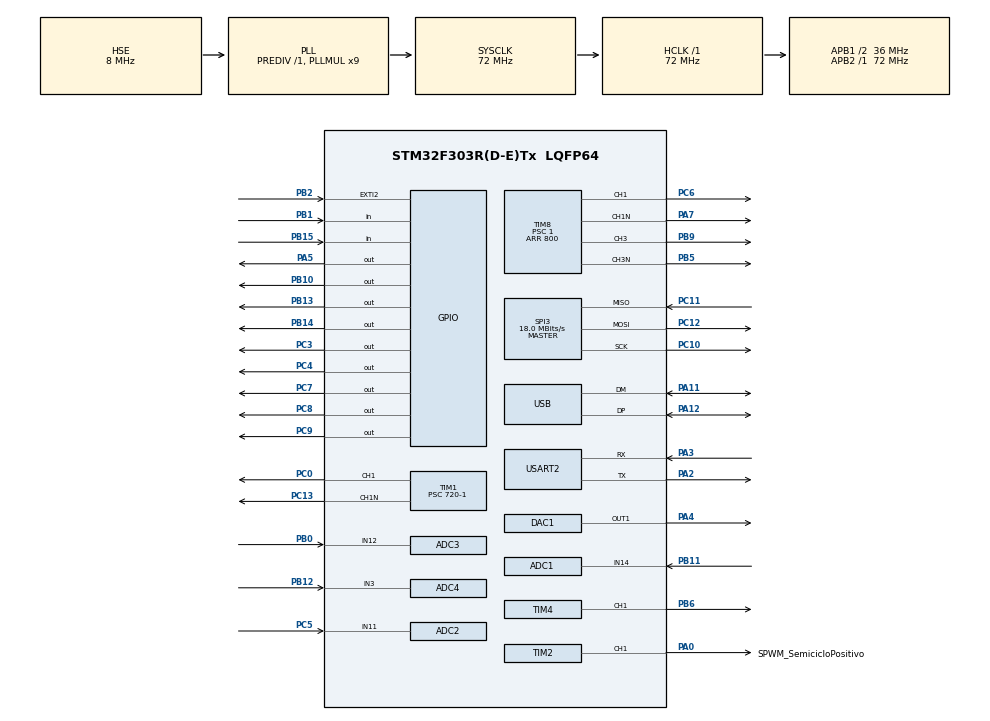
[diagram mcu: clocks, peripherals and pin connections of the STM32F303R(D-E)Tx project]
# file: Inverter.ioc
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ADC1.Channel-1\#ChannelRegularConversion=ADC_CHANNEL_14
ADC1.ClockPrescaler=ADC_CLOCK_SYNC_PCLK_DIV1
ADC1.ContinuousConvMode=ENABLE
ADC1.DMAContinuousRequests=ENABLE
ADC1.EOCSelection=ADC_EOC_SEQ_CONV
ADC1.EnableInjectedConversion=DISABLE
ADC1.NbrOfConversionFlag=1
ADC1.Offset-1\#ChannelRegularConversion=0
ADC1.OffsetNumber-1\#ChannelRegularConversion=ADC_OFFSET_NONE
ADC1.Overrun=ADC_OVR_DATA_OVERWRITTEN
ADC1.Rank-1\#ChannelRegularConversion=1
ADC1.SamplingTime-1\#ChannelRegularConversion=ADC_SAMPLETIME_1CYCLE_5
ADC1.master=1
ADC2.Channel-3\#ChannelRegularConversion=ADC_CHANNEL_11
ADC2.ClockPrescaler=ADC_CLOCK_SYNC_PCLK_DIV1
ADC2.ContinuousConvMode=ENABLE
ADC2.DMAContinuousRequests=ENABLE
ADC2.EnableInjectedConversion=DISABLE
ADC2.NbrOfConversionFlag=1
ADC2.Offset-3\#ChannelRegularConversion=0
ADC2.OffsetNumber-3\#ChannelRegularConversion=ADC_OFFSET_NONE
ADC2.Rank-3\#ChannelRegularConversion=1
ADC2.SamplingTime-3\#ChannelRegularConversion=ADC_SAMPLETIME_1CYCLE_5
ADC3.Channel-0\#ChannelRegularConversion=ADC_CHANNEL_12
ADC3.ClockPrescaler=ADC_CLOCK_SYNC_PCLK_DIV1
ADC3.ContinuousConvMode=ENABLE
ADC3.DMAContinuousRequests=ENABLE
ADC3.Mode=ADC_MODE_INDEPENDENT
ADC3.NbrOfConversionFlag=1
ADC3.Offset-0\#ChannelRegularConversion=0
ADC3.OffsetNumber-0\#ChannelRegularConversion=ADC_OFFSET_NONE
ADC3.Rank-0\#ChannelRegularConversion=1
ADC3.SamplingTime-0\#ChannelRegularConversion=ADC_SAMPLETIME_1CYCLE_5
ADC3.master=1
ADC4.Channel-1\#ChannelRegularConversion=ADC_CHANNEL_3
ADC4.ClockPrescaler=ADC_CLOCK_SYNC_PCLK_DIV1
ADC4.ContinuousConvMode=ENABLE
ADC4.DMAContinuousRequests=ENABLE
ADC4.NbrOfConversionFlag=1
ADC4.Offset-1\#ChannelRegularConversion=0
ADC4.OffsetNumber-1\#ChannelRegularConversion=ADC_OFFSET_NONE
ADC4.Rank-1\#ChannelRegularConversion=1
ADC4.SamplingTime-1\#ChannelRegularConversion=ADC_SAMPLETIME_1CYCLE_5
DAC1.DAC_Trigger=DAC_TRIGGER_T2_TRGO
Dma.ADC1.0.Direction=DMA_PERIPH_TO_MEMORY
Dma.ADC1.0.Instance=DMA1_Channel1
Dma.ADC1.0.MemDataAlignment=DMA_MDATAALIGN_WORD
Dma.ADC1.0.MemInc=DMA_MINC_ENABLE
Dma.ADC1.0.Mode=DMA_NORMAL
Dma.ADC1.0.PeriphDataAlignment=DMA_PDATAALIGN_WORD
Dma.ADC1.0.PeriphInc=DMA_PINC_DISABLE
Dma.ADC1.0.Priority=DMA_PRIORITY_VERY_HIGH
Dma.ADC2.3.Direction=DMA_PERIPH_TO_MEMORY
Dma.ADC2.3.Instance=DMA2_Channel1
Dma.ADC2.3.MemDataAlignment=DMA_MDATAALIGN_WORD
Dma.ADC2.3.MemInc=DMA_MINC_ENABLE
Dma.ADC2.3.Mode=DMA_NORMAL
Dma.ADC2.3.PeriphDataAlignment=DMA_PDATAALIGN_WORD
Dma.ADC2.3.PeriphInc=DMA_PINC_DISABLE
Dma.ADC2.3.Priority=DMA_PRIORITY_VERY_HIGH
Dma.ADC3.1.Direction=DMA_PERIPH_TO_MEMORY
Dma.ADC3.1.Instance=DMA2_Channel5
Dma.ADC3.1.MemDataAlignment=DMA_MDATAALIGN_WORD
Dma.ADC3.1.MemInc=DMA_MINC_ENABLE
Dma.ADC3.1.Mode=DMA_NORMAL
Dma.ADC3.1.PeriphDataAlignment=DMA_PDATAALIGN_WORD
Dma.ADC3.1.PeriphInc=DMA_PINC_DISABLE
Dma.ADC3.1.Priority=DMA_PRIORITY_VERY_HIGH
Dma.ADC4.2.Direction=DMA_PERIPH_TO_MEMORY
Dma.ADC4.2.Instance=DMA2_Channel2
Dma.ADC4.2.MemDataAlignment=DMA_MDATAALIGN_WORD
Dma.ADC4.2.MemInc=DMA_MINC_ENABLE
Dma.ADC4.2.Mode=DMA_NORMAL
Dma.ADC4.2.PeriphDataAlignment=DMA_PDATAALIGN_WORD
Dma.ADC4.2.PeriphInc=DMA_PINC_DISABLE
Dma.ADC4.2.Priority=DMA_PRIORITY_VERY_HIGH
Dma.DAC1_CH1.4.Direction=DMA_MEMORY_TO_PERIPH
Dma.DAC1_CH1.4.Instance=DMA1_Channel3
Dma.DAC1_CH1.4.MemDataAlignment=DMA_MDATAALIGN_WORD
Dma.DAC1_CH1.4.MemInc=DMA_MINC_ENABLE
Dma.DAC1_CH1.4.Mode=DMA_CIRCULAR
Dma.DAC1_CH1.4.PeriphDataAlignment=DMA_PDATAALIGN_WORD
Dma.DAC1_CH1.4.PeriphInc=DMA_PINC_DISABLE
Dma.DAC1_CH1.4.Priority=DMA_PRIORITY_LOW
Dma.MEMTOMEM.6.Direction=DMA_MEMORY_TO_MEMORY
Dma.MEMTOMEM.6.Instance=DMA1_Channel4
Dma.MEMTOMEM.6.MemDataAlignment=DMA_MDATAALIGN_HALFWORD
Dma.MEMTOMEM.6.MemInc=DMA_MINC_ENABLE
Dma.MEMTOMEM.6.Mode=DMA_NORMAL
Dma.MEMTOMEM.6.PeriphDataAlignment=DMA_PDATAALIGN_HALFWORD
Dma.MEMTOMEM.6.PeriphInc=DMA_PINC_ENABLE
Dma.MEMTOMEM.6.Priority=DMA_PRIORITY_HIGH
Dma.Request0=ADC1
Dma.Request1=ADC3
Dma.Request2=ADC4
Dma.Request3=ADC2
Dma.Request4=DAC1_CH1
Dma.Request5=TIM2_CH1
Dma.Request6=MEMTOMEM
Dma.TIM2_CH1.5.Direction=DMA_MEMORY_TO_PERIPH
Dma.TIM2_CH1.5.Instance=DMA1_Channel5
Dma.TIM2_CH1.5.MemDataAlignment=DMA_MDATAALIGN_WORD
Dma.TIM2_CH1.5.MemInc=DMA_MINC_ENABLE
Dma.TIM2_CH1.5.Mode=DMA_CIRCULAR
Dma.TIM2_CH1.5.PeriphDataAlignment=DMA_PDATAALIGN_WORD
Dma.TIM2_CH1.5.PeriphInc=DMA_PINC_DISABLE
Dma.TIM2_CH1.5.Priority=DMA_PRIORITY_VERY_HIGH
FATFS._FS_LOCK=30
FATFS._FS_NORTC=0
FATFS._MAX_SS=512
FATFS._MIN_SS=512
FATFS._USE_FORWARD=1
FATFS._USE_LFN=1
Mcu.Family=STM32F3
Mcu.Name=STM32F303R(D-E)Tx
Mcu.Package=LQFP64
NVIC.DMA1_Channel1_IRQn=true\:0\:0\:false\:false\:true\:false\:true\:true
NVIC.DMA1_Channel3_IRQn=true\:0\:0\:false\:false\:true\:false\:true\:true
NVIC.DMA1_Channel5_IRQn=true\:0\:0\:false\:false\:true\:false\:true\:true
NVIC.DMA2_Channel1_IRQn=true\:0\:0\:false\:false\:true\:false\:true\:true
NVIC.DMA2_Channel2_IRQn=true\:0\:0\:false\:false\:true\:false\:true\:true
NVIC.DMA2_Channel5_IRQn=true\:0\:0\:false\:false\:true\:false\:true\:true
NVIC.PriorityGroup=NVIC_PRIORITYGROUP_0
NVIC.TIM1_UP_TIM16_IRQn=true\:0\:0\:false\:false\:true\:true\:true\:true
NVIC.TIM3_IRQn=true\:0\:7\:false\:false\:true\:true\:true\:true
NVIC.TIM7_IRQn=true\:0\:0\:false\:false\:true\:true\:true\:true
NVIC.USB_LP_IRQn=true\:0\:0\:false\:false\:true\:false\:true\:true
PA0.GPIO_Label=SPWM_SemicicloPositivo
PA0.Signal=S_TIM2_CH1_ETR
PA11.Mode=Device
PA11.Signal=USB_DM
PA12.Mode=Device
PA12.Signal=USB_DP
PA13.Mode=Serial_Wire
PA13.Signal=SYS_JTMS-SWDIO
PA14.Mode=Serial_Wire
PA14.Signal=SYS_JTCK-SWCLK
PA2.GPIO_Mode=GPIO_MODE_AF_PP
PA2.GPIO_ModeDefaultPP=GPIO_MODE_AF_PP
PA2.GPIO_PuPd=GPIO_NOPULL
PA2.GPIO_Speed=GPIO_SPEED_FREQ_HIGH
PA2.Mode=Asynchronous
PA2.Signal=USART2_TX
PA3.GPIO_Mode=GPIO_MODE_AF_PP
PA3.GPIO_ModeDefaultPP=GPIO_MODE_AF_PP
PA3.GPIO_PuPd=GPIO_NOPULL
PA3.GPIO_Speed=GPIO_SPEED_FREQ_HIGH
PA3.Mode=Asynchronous
PA3.Signal=USART2_RX
PA4.Signal=COMP_DAC11_group
PA5.GPIO_Mode=GPIO_MODE_OUTPUT_PP
PA5.GPIO_ModeDefaultOutputPP=GPIO_MODE_OUTPUT_PP
PA5.GPIO_PuPd=GPIO_NOPULL
PA5.GPIO_Speed=GPIO_SPEED_FREQ_LOW
PA5.PinState=GPIO_PIN_RESET
PA5.Signal=GPIO_Output
PA7.Mode=PWM Generation1 CH1 CH1N
PA7.Signal=TIM8_CH1N
PB0.Mode=IN12-Single-Ended
PB0.Signal=ADC3_IN12
PB1.Signal=GPIO_Input
PB10.Signal=GPIO_Output
PB11.Mode=IN14-Single-Ended
PB11.Signal=ADC1_IN14
PB12.Mode=IN3-Single-Ended
PB12.Signal=ADC4_IN3
PB13.Signal=GPIO_Output
PB14.Signal=GPIO_Output
PB15.Signal=GPIO_Input
PB2.Signal=GPXTI2
PB3.Signal=SYS_JTDO-TRACESWO
PB5.Mode=PWM Generation3 CH3 CH3N
PB5.Signal=TIM8_CH3N
PB6.Signal=S_TIM4_CH1
PB9.Signal=S_TIM8_CH3
PC0.Signal=S_TIM1_CH1
PC10.GPIO_Speed=GPIO_SPEED_FREQ_HIGH
PC10.Mode=Full_Duplex_Master
PC10.Signal=SPI3_SCK
PC11.Mode=Full_Duplex_Master
PC11.Signal=SPI3_MISO
PC12.Mode=Full_Duplex_Master
PC12.Signal=SPI3_MOSI
PC13.Mode=PWM Generation1 CH1 CH1N
PC13.Signal=TIM1_CH1N
PC14-OSC32_IN.Mode=LSE-External-Clock-Source
PC14-OSC32_IN.Signal=RCC_OSC32_IN
PC15-OSC32_OUT.Signal=RCC_OSC32_OUT
PC3.Signal=GPIO_Output
PC4.Signal=GPIO_Output
PC5.Mode=IN11-Single-Ended
PC5.Signal=ADC2_IN11
PC6.Signal=S_TIM8_CH1
PC7.Signal=GPIO_Output
PC8.Signal=GPIO_Output
PC9.Signal=GPIO_Output
PF0-OSC_IN.Mode=HSE-External-Clock-Source
PF0-OSC_IN.Signal=RCC_OSC_IN
PF1-OSC_OUT.Signal=RCC_OSC_OUT
ProjectManager.HeapSize=0x200
ProjectManager.StackSize=0x400
ProjectManager.TargetToolchain=STM32CubeIDE
RCC.AHBFreq_Value=72000000
RCC.APB1CLKDivider=RCC_HCLK_DIV2
RCC.APB1Freq_Value=36000000
RCC.APB1TimFreq_Value=72000000
RCC.APB2Freq_Value=72000000
RCC.APB2TimFreq_Value=72000000
RCC.CortexFreq_Value=72000000
RCC.HCLKFreq_Value=72000000
RCC.HSE_VALUE=8000000
RCC.HSI_VALUE=8000000
RCC.LSE_VALUE=32768
RCC.PLLM=8
RCC.PLLMUL=RCC_PLL_MUL9
RCC.PLLN=336
RCC.PLLP=RCC_PLLP_DIV4
RCC.PLLQ=7
RCC.PRESCALERUSB=RCC_USBCLKSOURCE_PLL_DIV1_5
RCC.RCC_PLLsource_Clock_Source_FROM_HSE=RCC_HSE_PREDIV_DIV2
RCC.SYSCLKFreq_VALUE=72000000
RCC.SYSCLKSourceVirtual=RCC_SYSCLKSOURCE_PLLCLK
RCC.USBFreq_Value=48000000
RCC.Usart2ClockSelection=RCC_USART2CLKSOURCE_SYSCLK
SH.COMP_DAC11_group.0=DAC1_OUT1,DAC_OUT1
SH.S_TIM1_CH1.0=TIM1_CH1,PWM Generation1 CH1 CH1N
SH.S_TIM2_CH1_ETR.0=TIM2_CH1,PWM Generation1 CH1
SH.S_TIM4_CH1.0=TIM4_CH1,PWM Generation1 CH1
SH.S_TIM8_CH1.0=TIM8_CH1,PWM Generation1 CH1 CH1N
SH.S_TIM8_CH3.0=TIM8_CH3,PWM Generation3 CH3 CH3N
SPI3.BaudRatePrescaler=SPI_BAUDRATEPRESCALER_2
SPI3.CLKPolarity=SPI_POLARITY_LOW
SPI3.CalculateBaudRate=18.0 MBits/s
SPI3.DataSize=SPI_DATASIZE_8BIT
SPI3.Direction=SPI_DIRECTION_2LINES
SPI3.Mode=SPI_MODE_MASTER
SPI3.VirtualType=VM_MASTER
TIM1.AutomaticOutput=TIM_AUTOMATICOUTPUT_DISABLE
TIM1.BreakFilter=0
TIM1.BreakState=TIM_BREAK_ENABLE
TIM1.Channel-PWM\ Generation1\ CH1\ CH1N=TIM_CHANNEL_1
TIM1.ClearInputSource=TIM_CLEARINPUTSOURCE_NONE
TIM1.DeadTime=255
TIM1.OC1Preload_PWM=DISABLE
TIM1.OCFastMode_PWM-PWM\ Generation1\ CH1\ CH1N=TIM_OCFAST_ENABLE
TIM1.OffStateIDLEMode=TIM_OSSI_DISABLE
TIM1.OffStateRunMode=TIM_OSSR_DISABLE
TIM1.Period=2000-1
TIM1.Prescaler=720-1
TIM1.Pulse-PWM\ Generation1\ CH1\ CH1N=1000-1
TIM1.TIM_MasterOutputTrigger=TIM_TRGO_RESET
TIM1.TIM_MasterSlaveMode=TIM_MASTERSLAVEMODE_DISABLE
TIM2.AutoReloadPreload=TIM_AUTORELOAD_PRELOAD_DISABLE
TIM2.Channel-PWM\ Generation1\ CH1=TIM_CHANNEL_1
TIM2.ClearInputSource=TIM_CLEARINPUTSOURCE_NONE
TIM2.OC1Preload_PWM=DISABLE
TIM2.Period=2880-1
TIM2.Prescaler=0
TIM2.Pulse-PWM\ Generation1\ CH1=0
TIM2.TIM_MasterOutputTrigger=TIM_TRGO_RESET
TIM2.TIM_MasterSlaveMode=TIM_MASTERSLAVEMODE_DISABLE
TIM3.AutoReloadPreload=TIM_AUTORELOAD_PRELOAD_ENABLE
TIM3.Period=10
TIM3.Prescaler=72
TIM3.TIM_MasterOutputTrigger=TIM_TRGO_UPDATE
TIM3.TIM_MasterSlaveMode=TIM_MASTERSLAVEMODE_DISABLE
TIM4.Channel-PWM\ Generation1\ CH1=TIM_CHANNEL_1
TIM4.OC1Preload_PWM=DISABLE
TIM4.Period=3000
TIM4.Pulse-PWM\ Generation1\ CH1=1500
TIM7.Period=300
TIM8.Channel-PWM\ Generation1\ CH1\ CH1N=TIM_CHANNEL_1
TIM8.Channel-PWM\ Generation2\ No\ Output=TIM_CHANNEL_2
TIM8.Channel-PWM\ Generation3\ CH3\ CH3N=TIM_CHANNEL_3
TIM8.Channel-PWM\ Generation4\ No\ Output=TIM_CHANNEL_4
TIM8.CounterMode=TIM_COUNTERMODE_CENTERALIGNED1
TIM8.DeadTime=100
TIM8.OC1Preload_PWM=DISABLE
TIM8.OC2Preload_PWM=DISABLE
TIM8.OC3Preload_PWM=DISABLE
TIM8.OC4Preload_PWM=DISABLE
TIM8.OCFastMode_PWM-PWM\ Generation1\ CH1\ CH1N=TIM_OCFAST_ENABLE
TIM8.OCFastMode_PWM-PWM\ Generation2\ No\ Output=TIM_OCFAST_ENABLE
TIM8.OCMode_PWM-PWM\ Generation1\ CH1\ CH1N=TIM_OCMODE_ASSYMETRIC_PWM1
TIM8.OCMode_PWM-PWM\ Generation2\ No\ Output=TIM_OCMODE_ASSYMETRIC_PWM1
TIM8.OCMode_PWM-PWM\ Generation3\ CH3\ CH3N=TIM_OCMODE_ASSYMETRIC_PWM1
TIM8.OCMode_PWM-PWM\ Generation4\ No\ Output=TIM_OCMODE_ASSYMETRIC_PWM1
TIM8.Period=800
TIM8.Prescaler=1
TIM8.Pulse-PWM\ Generation1\ CH1\ CH1N=500
TIM8.Pulse-PWM\ Generation3\ CH3\ CH3N=500
TIM8.TIM_MasterOutputTrigger=TIM_TRGO_OC1REF
TIM8.TIM_MasterOutputTrigger2=TIM_TRGO2_OC1REF
TIM8.TIM_MasterSlaveMode=TIM_MASTERSLAVEMODE_DISABLE
USART2.VirtualMode-Asynchronous=VM_ASYNC
USB_DEVICE.CLASS_NAME_FS=CDC
USB_DEVICE.USBD_SELF_POWERED=0
USB_DEVICE.VirtualMode=Cdc
USB_DEVICE.VirtualModeFS=Cdc_FS
VP_FATFS_VS_Generic.Mode=User_defined
VP_TIM1_VS_ClockSourceINT.Mode=Internal
VP_TIM2_VS_ClockSourceINT.Mode=Internal
VP_TIM3_VS_ClockSourceINT.Mode=Internal
VP_TIM4_VS_ClockSourceINT.Mode=Internal
VP_TIM7_VS_ClockSourceINT.Mode=Enable_Timer
VP_TIM8_VS_ClockSourceINT.Mode=Internal
VP_TIM8_VS_no_output2.Mode=PWM Generation2 No Output
VP_TIM8_VS_no_output4.Mode=PWM Generation4 No Output
VP_USB_DEVICE_VS_USB_DEVICE_CDC_FS.Mode=CDC_FS
board=NUCLEO-F303RE

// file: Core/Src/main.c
/* USER CODE BEGIN Header */
/**
  ******************************************************************************
  * @file           : main.c
  * @brief          : Main program body
  ******************************************************************************
  * @attention
  *
  * <h2><center>&copy; Copyright (c) 2020 STMicroelectronics.
  * All rights reserved.</center></h2>
  *
  * This software component is licensed by ST under BSD 3-Clause license,
  * the "License"; You may not use this file except in compliance with the
  * License. You may obtain a copy of the License at:
  *                        opensource.org/licenses/BSD-3-Clause
  *
  ******************************************************************************
  */
/* USER CODE END Header */
#include "main.h"
#include "fatfs.h"
#include "usb_device.h"

/* USER CODE BEGIN Includes */
#include "math.h"
#include "aplicacion.h"
#include "usbd_cdc_if.h"
#include "stm32f3xx_hal_dma.h"
#include "stm32f3xx_hal.h"
#include "Recursos.h"
#include "ILI9341_Driver.h"
#include "Panel Tactil.h"
#include "user_diskio.h"
#include "XPT2046_touch.h"
#include "stdio.h"

extern USBD_HandleTypeDef hUsbDeviceFS;
/* USER CODE END Includes */

ADC_HandleTypeDef hadc1;
ADC_HandleTypeDef hadc2;
ADC_HandleTypeDef hadc3;
ADC_HandleTypeDef hadc4;
DMA_HandleTypeDef hdma_adc1;
DMA_HandleTypeDef hdma_adc2;
DMA_HandleTypeDef hdma_adc3;
DMA_HandleTypeDef hdma_adc4;

DAC_HandleTypeDef hdac1;
DMA_HandleTypeDef hdma_dac1_ch1;

SPI_HandleTypeDef hspi3;

TIM_HandleTypeDef htim1;
TIM_HandleTypeDef htim2;
TIM_HandleTypeDef htim3;
TIM_HandleTypeDef htim4;
TIM_HandleTypeDef htim7;
TIM_HandleTypeDef htim8;
DMA_HandleTypeDef hdma_tim2_ch1;

UART_HandleTypeDef huart2;

DMA_HandleTypeDef hdma_memtomem_dma1_channel4;
/* USER CODE BEGIN PV */
uint32_t USBRX=0;

FATFS fs;
FATFS *pfs;

FRESULT fres;
DWORD fre_clust;
uint32_t totalSpace, freeSpace;
char buffer[300];
int ERROR_SD=0;
int debug=0;
/*
volatile uint16_t contDePulsosPWM=0;
volatile uint8_t Semiciclo=0;
*/
/*
const float SPWM[250] =
{
0.0000,0.0126,0.0251,0.0377,0.0502,0.0628,0.0753,0.0879,0.1004,0.1129,
0.1253,0.1378,0.1502,0.1626,0.1750,0.1874,0.1997,0.2120,0.2243,0.2365,
0.2487,0.2608,0.2730,0.2850,0.2970,0.3090,0.3209,0.3328,0.3446,0.3564,
0.3681,0.3798,0.3914,0.4029,0.4144,0.4258,0.4371,0.4484,0.4596,0.4707,
0.4818,0.4927,0.5036,0.5144,0.5252,0.5358,0.5464,0.5569,0.5673,0.5776,
0.5878,0.5979,0.6079,0.6179,0.6277,0.6374,0.6471,0.6566,0.6660,0.6753,
0.6845,0.6937,0.7026,0.7115,0.7203,0.7290,0.7375,0.7459,0.7543,0.7624,
0.7705,0.7785,0.7863,0.7940,0.8016,0.8090,0.8163,0.8235,0.8306,0.8375,
0.8443,0.8510,0.8575,0.8639,0.8702,0.8763,0.8823,0.8881,0.8938,0.8994,
0.9048,0.9101,0.9152,0.9202,0.9251,0.9298,0.9343,0.9387,0.9430,0.9471,
0.9511,0.9549,0.9585,0.9620,0.9654,0.9686,0.9716,0.9745,0.9773,0.9799,
0.9823,0.9846,0.9867,0.9887,0.9905,0.9921,0.9936,0.9950,0.9961,0.9972,
0.9980,0.9987,0.9993,0.9997,0.9999,1.0000,0.9999,0.9997,0.9993,0.9987,
0.9980,0.9972,0.9961,0.9950,0.9936,0.9921,0.9905,0.9887,0.9867,0.9846,
0.9823,0.9799,0.9773,0.9745,0.9716,0.9686,0.9654,0.9620,0.9585,0.9549,
0.9511,0.9471,0.9430,0.9387,0.9343,0.9298,0.9251,0.9202,0.9152,0.9101,
0.9048,0.8994,0.8938,0.8881,0.8823,0.8763,0.8702,0.8639,0.8575,0.8510,
0.8443,0.8375,0.8306,0.8235,0.8163,0.8090,0.8016,0.7940,0.7863,0.7785,
0.7705,0.7624,0.7543,0.7459,0.7375,0.7290,0.7203,0.7115,0.7026,0.6937,
0.6845,0.6753,0.6660,0.6566,0.6471,0.6374,0.6277,0.6179,0.6079,0.5979,
0.5878,0.5776,0.5673,0.5569,0.5464,0.5358,0.5252,0.5144,0.5036,0.4927,
0.4818,0.4707,0.4596,0.4484,0.4371,0.4258,0.4144,0.4029,0.3914,0.3798,
0.3681,0.3564,0.3446,0.3328,0.3209,0.3090,0.2970,0.2850,0.2730,0.2608,
0.2487,0.2365,0.2243,0.2120,0.1997,0.1874,0.1750,0.1626,0.1502,0.1378,
0.1253,0.1129,0.1004,0.0879,0.0753,0.0628,0.0502,0.0377,0.0251,0.0126,
0.0000
};

const float SPWM[250] =
{
1.0000,1.0000,1.0000,1.0000,1.0000,1.0000,1.0000,1.0000,1.0000,1.0000,
0.1253,0.1378,0.1502,0.1626,0.1750,0.1874,0.1997,0.2120,0.2243,0.2365,
0.2487,0.2608,0.2730,0.2850,0.2970,0.3090,0.3209,0.3328,0.3446,0.3564,
0.3681,0.3798,0.3914,0.4029,0.4144,0.4258,0.4371,0.4484,0.4596,0.4707,
0.4818,0.4927,0.5036,0.5144,0.5252,0.5358,0.5464,0.5569,0.5673,0.5776,
0.5878,0.5979,0.6079,0.6179,0.6277,0.6374,0.6471,0.6566,0.6660,0.6753,
0.6845,0.6937,0.7026,0.7115,0.7203,0.7290,0.7375,0.7459,0.7543,0.7624,
0.7705,0.7785,0.7863,0.7940,0.8016,0.8090,0.8163,0.8235,0.8306,0.8375,
0.8443,0.8510,0.8575,0.8639,0.8702,0.8763,0.8823,0.8881,0.8938,0.8994,
0.9048,0.9101,0.9152,0.9202,0.9251,0.9298,0.9343,0.9387,0.9430,0.9471,
0.9511,0.9549,0.9585,0.9620,0.9654,0.9686,0.9716,0.9745,0.9773,0.9799,
0.9823,0.9846,0.9867,0.9887,0.9905,0.9921,0.9936,0.9950,0.9961,0.9972,
1.0000,1.0000,1.0000,1.0000,1.0000,1.0000,1.0000,1.0000,1.0000,1.0000,
0.9980,0.9972,0.9961,0.9950,0.9936,0.9921,0.9905,0.9887,0.9867,0.9846,
0.9823,0.9799,0.9773,0.9745,0.9716,0.9686,0.9654,0.9620,0.9585,0.9549,
0.9511,0.9471,0.9430,0.9387,0.9343,0.9298,0.9251,0.9202,0.9152,0.9101,
0.9048,0.8994,0.8938,0.8881,0.8823,0.8763,0.8702,0.8639,0.8575,0.8510,
0.8443,0.8375,0.8306,0.8235,0.8163,0.8090,0.8016,0.7940,0.7863,0.7785,
0.7705,0.7624,0.7543,0.7459,0.7375,0.7290,0.7203,0.7115,0.7026,0.6937,
0.6845,0.6753,0.6660,0.6566,0.6471,0.6374,0.6277,0.6179,0.6079,0.5979,
0.5878,0.5776,0.5673,0.5569,0.5464,0.5358,0.5252,0.5144,0.5036,0.4927,
0.4818,0.4707,0.4596,0.4484,0.4371,0.4258,0.4144,0.4029,0.3914,0.3798,
0.3681,0.3564,0.3446,0.3328,0.3209,0.3090,0.2970,0.2850,0.2730,0.2608,
0.2487,0.2365,0.2243,0.2120,0.1997,0.1874,0.1750,0.1626,0.1502,0.1378,
0.0000,0.0000,0.0000,0.0000,0.0000,0.0000,0.0000,0.0000,0.0000,0.0000,
0.0000
};
*/

const float SPWM[250] =
{
		1,1,1,1,1,1,1,1,1,1,
		1,1,1,1,1,1,1,1,1,1,
		1,1,1,1,1,1,1,1,1,1,
		1,1,1,1,1,1,1,1,1,1,
		1,1,1,1,1,1,1,1,1,1,

		0,0,0,0,0,0,0,0,0,0,
		0,0,0,0,0,0,0,0,0,0,
		0,0,0,0,0,0,0,0,0,0,
		0,0,0,0,0,0,0,0,0,0,
		0,0,0,0,0,0,0,0,0,0,

		0,0,0,0,0,0,0,0,0,0,
		0,0,0,0,0,0,0,0,0,0,
		0,0,0,0,0,0,0,0,0,0,
		0,0,0,0,0,0,0,0,0,0,
		0,0,0,0,0,0,0,0,0,0,

		0,0,0,0,0,0,0,0,0,0,
		0,0,0,0,0,0,0,0,0,0,
		0,0,0,0,0,0,0,0,0,0,
		0,0,0,0,0,0,0,0,0,0,
		0,0,0,0,0,0,0,0,0,0,

		0,0,0,0,0,0,0,0,0,0,
		0,0,0,0,0,0,0,0,0,0,
		0,0,0,0,0,0,0,0,0,0,
		0,0,0,0,0,0,0,0,0,0,
		0,0,0,0,0,0,0,0,0,0

};

uint32_t SPWM1[250];
uint32_t SPWM2[250];

/* USER CODE END PV */

void SystemClock_Config(void);
static void MX_GPIO_Init(void);
static void MX_DMA_Init(void);
static void MX_USART2_UART_Init(void);
static void MX_TIM2_Init(void);
static void MX_ADC1_Init(void);
static void MX_ADC3_Init(void);
static void MX_ADC4_Init(void);
static void MX_ADC2_Init(void);
static void MX_TIM1_Init(void);
static void MX_DAC1_Init(void);
static void MX_TIM3_Init(void);
static void MX_SPI3_Init(void);
static void MX_TIM7_Init(void);
static void MX_TIM8_Init(void);
static void MX_TIM4_Init(void);

/* USER CODE BEGIN 0 */
#define PI 3.141596
uint32_t Seno[100];

//uint8_t BufferRX[100];
//uint8_t Canal=1;

void GenOnda()
{
	int i;

	for(i=0;i<100;i++)
	{
		Seno[i]=(sin(2*PI*i/100)*1000+2048);
	}
}

/* USER CODE END 0 */

int main(void)
{

  /* MCU Configuration--------------------------------------------------------*/

  /* Reset of all peripherals, Initializes the Flash interface and the Systick. */
  HAL_Init();

  /* Configure the system clock */
  SystemClock_Config();

  /* Initialize all configured peripherals */
  MX_GPIO_Init();
  MX_DMA_Init();
  MX_USART2_UART_Init();
  MX_USB_DEVICE_Init();
  MX_TIM2_Init();
  MX_ADC1_Init();
  MX_ADC3_Init();
  MX_ADC4_Init();
  MX_ADC2_Init();
  MX_TIM1_Init();
  MX_DAC1_Init();
  MX_TIM3_Init();
  MX_SPI3_Init();
  MX_FATFS_Init();
  MX_TIM7_Init();
  MX_TIM8_Init();
  MX_TIM4_Init();
  /* USER CODE BEGIN 2 */

  SD_CS_OFF;
  TFT_CS_OFF;
  TP_CS_OFF;

  ILI9341_Init();
  ERROR_SD=0;
  TFT_CS_OFF;
  // Mount SD Card
  SD_CS_ON;
  if(f_mount(&fs, "",1) != FR_OK) ERROR_SD=0x01;// _Error_Handler(__FILE__, __LINE__);

  /* =============Initialization=============== */
  ILI9341_Init();
  //TP_Init();
  /* USER CODE END 2 */

  /* Infinite loop */
  /* USER CODE BEGIN WHILE */
  //HAL_CAN_Start(&hcan);
  //CAN1_Config();

  HAL_TIM_Base_Start_IT(&htim1);
  HAL_TIM_PWM_Start_IT(&htim1,TIM_CHANNEL_1);
  HAL_TIMEx_PWMN_Start(&htim1,TIM_CHANNEL_1);

  //HAL_TIM_PWM_Start(&htim2,TIM_CHANNEL_1); //Inverter
  //HAL_TIM_PWM_Start(&htim2,TIM_CHANNEL_2); //Inverter

  HAL_TIM_Base_Start(&htim2);
  HAL_TIM_PWM_Start_DMA(&htim2,TIM_CHANNEL_1,SPWM1,250);

  HAL_TIM_Base_Start(&htim3);// OSC

  HAL_TIM_Base_Start(&htim4);
  HAL_TIM_PWM_Start(&htim4,TIM_CHANNEL_1);

  HAL_TIM_Base_Start(&htim8);
  HAL_TIM_PWM_Start(&htim8, TIM_CHANNEL_1);
  HAL_TIMEx_PWMN_Start(&htim8,TIM_CHANNEL_1);

  HAL_TIM_PWM_Start(&htim8, TIM_CHANNEL_2);
  HAL_TIMEx_PWMN_Start(&htim8,TIM_CHANNEL_2);

  HAL_TIM_PWM_Start(&htim8, TIM_CHANNEL_3);
  HAL_TIMEx_PWMN_Start(&htim8,TIM_CHANNEL_3);

  GenOnda();
  HAL_DAC_Start_DMA(&hdac1,DAC_CHANNEL_1, Seno, 100, DAC_ALIGN_12B_R);

  AppInit();

  while(1)
  {
	  if(HAL_GPIO_ReadPin(TP_IRQ_GPIO_Port, TP_IRQ_Pin) == 0)
	  {
       	  AtencionTecla();
	  }
	  else
	  {
		  AppLoop();
	  }

	  HAL_GPIO_TogglePin(GPIOA,GPIO_PIN_5);

    /* USER CODE END WHILE */

  }
}

void SystemClock_Config(void)
{
  RCC_OscInitTypeDef RCC_OscInitStruct = {0};
  RCC_ClkInitTypeDef RCC_ClkInitStruct = {0};
  RCC_PeriphCLKInitTypeDef PeriphClkInit = {0};

  /** Initializes the RCC Oscillators according to the specified parameters
  * in the RCC_OscInitTypeDef structure.
  */
  RCC_OscInitStruct.OscillatorType = RCC_OSCILLATORTYPE_HSE;
  RCC_OscInitStruct.HSEState = RCC_HSE_BYPASS;
  RCC_OscInitStruct.HSIState = RCC_HSI_ON;
  RCC_OscInitStruct.PLL.PLLState = RCC_PLL_ON;
  RCC_OscInitStruct.PLL.PLLSource = RCC_PLLSOURCE_HSE;
  RCC_OscInitStruct.PLL.PLLMUL = RCC_PLL_MUL9;
  RCC_OscInitStruct.PLL.PREDIV = RCC_PREDIV_DIV1;
  if (HAL_RCC_OscConfig(&RCC_OscInitStruct) != HAL_OK)
  {
    Error_Handler();
  }

  /** Initializes the CPU, AHB and APB buses clocks
  */
  RCC_ClkInitStruct.ClockType = RCC_CLOCKTYPE_HCLK|RCC_CLOCKTYPE_SYSCLK
                              |RCC_CLOCKTYPE_PCLK1|RCC_CLOCKTYPE_PCLK2;
  RCC_ClkInitStruct.SYSCLKSource = RCC_SYSCLKSOURCE_PLLCLK;
  RCC_ClkInitStruct.AHBCLKDivider = RCC_SYSCLK_DIV1;
  RCC_ClkInitStruct.APB1CLKDivider = RCC_HCLK_DIV2;
  RCC_ClkInitStruct.APB2CLKDivider = RCC_HCLK_DIV1;

  if (HAL_RCC_ClockConfig(&RCC_ClkInitStruct, FLASH_LATENCY_2) != HAL_OK)
  {
    Error_Handler();
  }
  PeriphClkInit.PeriphClockSelection = RCC_PERIPHCLK_USB|RCC_PERIPHCLK_USART2
                              |RCC_PERIPHCLK_TIM1|RCC_PERIPHCLK_TIM8
                              |RCC_PERIPHCLK_TIM2|RCC_PERIPHCLK_TIM34;
  PeriphClkInit.Usart2ClockSelection = RCC_USART2CLKSOURCE_SYSCLK;
  PeriphClkInit.USBClockSelection = RCC_USBCLKSOURCE_PLL_DIV1_5;
  PeriphClkInit.Tim1ClockSelection = RCC_TIM1CLK_HCLK;
  PeriphClkInit.Tim8ClockSelection = RCC_TIM8CLK_HCLK;
  PeriphClkInit.Tim2ClockSelection = RCC_TIM2CLK_HCLK;
  PeriphClkInit.Tim34ClockSelection = RCC_TIM34CLK_HCLK;
  if (HAL_RCCEx_PeriphCLKConfig(&PeriphClkInit) != HAL_OK)
  {
    Error_Handler();
  }
}

static void MX_ADC1_Init(void)
{

  ADC_MultiModeTypeDef multimode = {0};
  ADC_ChannelConfTypeDef sConfig = {0};

  /** Common config
  */
  hadc1.Instance = ADC1;
  hadc1.Init.ClockPrescaler = ADC_CLOCK_SYNC_PCLK_DIV1;
  hadc1.Init.Resolution = ADC_RESOLUTION_12B;
  hadc1.Init.ScanConvMode = ADC_SCAN_DISABLE;
  hadc1.Init.ContinuousConvMode = ENABLE;
  hadc1.Init.DiscontinuousConvMode = DISABLE;
  hadc1.Init.ExternalTrigConvEdge = ADC_EXTERNALTRIGCONVEDGE_NONE;
  hadc1.Init.ExternalTrigConv = ADC_SOFTWARE_START;
  hadc1.Init.DataAlign = ADC_DATAALIGN_RIGHT;
  hadc1.Init.NbrOfConversion = 1;
  hadc1.Init.DMAContinuousRequests = ENABLE;
  hadc1.Init.EOCSelection = ADC_EOC_SEQ_CONV;
  hadc1.Init.LowPowerAutoWait = DISABLE;
  hadc1.Init.Overrun = ADC_OVR_DATA_OVERWRITTEN;
  if (HAL_ADC_Init(&hadc1) != HAL_OK)
  {
    Error_Handler();
  }

  /** Configure the ADC multi-mode
  */
  multimode.Mode = ADC_MODE_INDEPENDENT;
  if (HAL_ADCEx_MultiModeConfigChannel(&hadc1, &multimode) != HAL_OK)
  {
    Error_Handler();
  }

  /** Configure Regular Channel
  */
  sConfig.Channel = ADC_CHANNEL_14;
  sConfig.Rank = ADC_REGULAR_RANK_1;
  sConfig.SingleDiff = ADC_SINGLE_ENDED;
  sConfig.SamplingTime = ADC_SAMPLETIME_1CYCLE_5;
  sConfig.OffsetNumber = ADC_OFFSET_NONE;
  sConfig.Offset = 0;
  if (HAL_ADC_ConfigChannel(&hadc1, &sConfig) != HAL_OK)
  {
    Error_Handler();
  }

}

static void MX_ADC2_Init(void)
{

  ADC_ChannelConfTypeDef sConfig = {0};

  /** Common config
  */
  hadc2.Instance = ADC2;
  hadc2.Init.ClockPrescaler = ADC_CLOCK_SYNC_PCLK_DIV1;
  hadc2.Init.Resolution = ADC_RESOLUTION_12B;
  hadc2.Init.ScanConvMode = ADC_SCAN_DISABLE;
  hadc2.Init.ContinuousConvMode = ENABLE;
  hadc2.Init.DiscontinuousConvMode = DISABLE;
  hadc2.Init.ExternalTrigConvEdge = ADC_EXTERNALTRIGCONVEDGE_NONE;
  hadc2.Init.ExternalTrigConv = ADC_SOFTWARE_START;
  hadc2.Init.DataAlign = ADC_DATAALIGN_RIGHT;
  hadc2.Init.NbrOfConversion = 1;
  hadc2.Init.DMAContinuousRequests = ENABLE;
  hadc2.Init.EOCSelection = ADC_EOC_SINGLE_CONV;
  hadc2.Init.LowPowerAutoWait = DISABLE;
  hadc2.Init.Overrun = ADC_OVR_DATA_OVERWRITTEN;
  if (HAL_ADC_Init(&hadc2) != HAL_OK)
  {
    Error_Handler();
  }

  /** Configure Regular Channel
  */
  sConfig.Channel = ADC_CHANNEL_11;
  sConfig.Rank = ADC_REGULAR_RANK_1;
  sConfig.SingleDiff = ADC_SINGLE_ENDED;
  sConfig.SamplingTime = ADC_SAMPLETIME_1CYCLE_5;
  sConfig.OffsetNumber = ADC_OFFSET_NONE;
  sConfig.Offset = 0;
  if (HAL_ADC_ConfigChannel(&hadc2, &sConfig) != HAL_OK)
  {
    Error_Handler();
  }

}

static void MX_ADC3_Init(void)
{

  ADC_MultiModeTypeDef multimode = {0};
  ADC_ChannelConfTypeDef sConfig = {0};

  /** Common config
  */
  hadc3.Instance = ADC3;
  hadc3.Init.ClockPrescaler = ADC_CLOCK_SYNC_PCLK_DIV1;
  hadc3.Init.Resolution = ADC_RESOLUTION_12B;
  hadc3.Init.ScanConvMode = ADC_SCAN_DISABLE;
  hadc3.Init.ContinuousConvMode = ENABLE;
  hadc3.Init.DiscontinuousConvMode = DISABLE;
  hadc3.Init.ExternalTrigConvEdge = ADC_EXTERNALTRIGCONVEDGE_NONE;
  hadc3.Init.ExternalTrigConv = ADC_SOFTWARE_START;
  hadc3.Init.DataAlign = ADC_DATAALIGN_RIGHT;
  hadc3.Init.NbrOfConversion = 1;
  hadc3.Init.DMAContinuousRequests = ENABLE;
  hadc3.Init.EOCSelection = ADC_EOC_SINGLE_CONV;
  hadc3.Init.LowPowerAutoWait = DISABLE;
  hadc3.Init.Overrun = ADC_OVR_DATA_OVERWRITTEN;
  if (HAL_ADC_Init(&hadc3) != HAL_OK)
  {
    Error_Handler();
  }

  /** Configure the ADC multi-mode
  */
  multimode.Mode = ADC_MODE_INDEPENDENT;
  if (HAL_ADCEx_MultiModeConfigChannel(&hadc3, &multimode) != HAL_OK)
  {
    Error_Handler();
  }

  /** Configure Regular Channel
  */
  sConfig.Channel = ADC_CHANNEL_12;
  sConfig.Rank = ADC_REGULAR_RANK_1;
  sConfig.SingleDiff = ADC_SINGLE_ENDED;
  sConfig.SamplingTime = ADC_SAMPLETIME_1CYCLE_5;
  sConfig.OffsetNumber = ADC_OFFSET_NONE;
  sConfig.Offset = 0;
  if (HAL_ADC_ConfigChannel(&hadc3, &sConfig) != HAL_OK)
  {
    Error_Handler();
  }

}

static void MX_ADC4_Init(void)
{

  ADC_ChannelConfTypeDef sConfig = {0};

  /** Common config
  */
  hadc4.Instance = ADC4;
  hadc4.Init.ClockPrescaler = ADC_CLOCK_SYNC_PCLK_DIV1;
  hadc4.Init.Resolution = ADC_RESOLUTION_12B;
  hadc4.Init.ScanConvMode = ADC_SCAN_DISABLE;
  hadc4.Init.ContinuousConvMode = ENABLE;
  hadc4.Init.DiscontinuousConvMode = DISABLE;
  hadc4.Init.ExternalTrigConvEdge = ADC_EXTERNALTRIGCONVEDGE_NONE;
  hadc4.Init.ExternalTrigConv = ADC_SOFTWARE_START;
  hadc4.Init.DataAlign = ADC_DATAALIGN_RIGHT;
  hadc4.Init.NbrOfConversion = 1;
  hadc4.Init.DMAContinuousRequests = ENABLE;
  hadc4.Init.EOCSelection = ADC_EOC_SINGLE_CONV;
  hadc4.Init.LowPowerAutoWait = DISABLE;
  hadc4.Init.Overrun = ADC_OVR_DATA_OVERWRITTEN;
  if (HAL_ADC_Init(&hadc4) != HAL_OK)
  {
    Error_Handler();
  }

  /** Configure Regular Channel
  */
  sConfig.Channel = ADC_CHANNEL_3;
  sConfig.Rank = ADC_REGULAR_RANK_1;
  sConfig.SingleDiff = ADC_SINGLE_ENDED;
  sConfig.SamplingTime = ADC_SAMPLETIME_1CYCLE_5;
  sConfig.OffsetNumber = ADC_OFFSET_NONE;
  sConfig.Offset = 0;
  if (HAL_ADC_ConfigChannel(&hadc4, &sConfig) != HAL_OK)
  {
    Error_Handler();
  }

}

static void MX_DAC1_Init(void)
{

  DAC_ChannelConfTypeDef sConfig = {0};

  /** DAC Initialization
  */
  hdac1.Instance = DAC1;
  if (HAL_DAC_Init(&hdac1) != HAL_OK)
  {
    Error_Handler();
  }

  /** DAC channel OUT1 config
  */
  sConfig.DAC_Trigger = DAC_TRIGGER_T2_TRGO;
  sConfig.DAC_OutputBuffer = DAC_OUTPUTBUFFER_ENABLE;
  if (HAL_DAC_ConfigChannel(&hdac1, &sConfig, DAC_CHANNEL_1) != HAL_OK)
  {
    Error_Handler();
  }

}

static void MX_SPI3_Init(void)
{

  /* SPI3 parameter configuration*/
  hspi3.Instance = SPI3;
  hspi3.Init.Mode = SPI_MODE_MASTER;
  hspi3.Init.Direction = SPI_DIRECTION_2LINES;
  hspi3.Init.DataSize = SPI_DATASIZE_8BIT;
  hspi3.Init.CLKPolarity = SPI_POLARITY_LOW;
  hspi3.Init.CLKPhase = SPI_PHASE_1EDGE;
  hspi3.Init.NSS = SPI_NSS_SOFT;
  hspi3.Init.BaudRatePrescaler = SPI_BAUDRATEPRESCALER_2;
  hspi3.Init.FirstBit = SPI_FIRSTBIT_MSB;
  hspi3.Init.TIMode = SPI_TIMODE_DISABLE;
  hspi3.Init.CRCCalculation = SPI_CRCCALCULATION_DISABLE;
  hspi3.Init.CRCPolynomial = 7;
  hspi3.Init.CRCLength = SPI_CRC_LENGTH_DATASIZE;
  hspi3.Init.NSSPMode = SPI_NSS_PULSE_ENABLE;
  if (HAL_SPI_Init(&hspi3) != HAL_OK)
  {
    Error_Handler();
  }

}

static void MX_TIM1_Init(void)
{

  TIM_ClockConfigTypeDef sClockSourceConfig = {0};
  TIM_MasterConfigTypeDef sMasterConfig = {0};
  TIM_OC_InitTypeDef sConfigOC = {0};
  TIM_BreakDeadTimeConfigTypeDef sBreakDeadTimeConfig = {0};

  htim1.Instance = TIM1;
  htim1.Init.Prescaler = 720-1;
  htim1.Init.CounterMode = TIM_COUNTERMODE_UP;
  htim1.Init.Period = 2000-1;
  htim1.Init.ClockDivision = TIM_CLOCKDIVISION_DIV1;
  htim1.Init.RepetitionCounter = 0;
  htim1.Init.AutoReloadPreload = TIM_AUTORELOAD_PRELOAD_DISABLE;
  if (HAL_TIM_Base_Init(&htim1) != HAL_OK)
  {
    Error_Handler();
  }
  sClockSourceConfig.ClockSource = TIM_CLOCKSOURCE_INTERNAL;
  if (HAL_TIM_ConfigClockSource(&htim1, &sClockSourceConfig) != HAL_OK)
  {
    Error_Handler();
  }
  if (HAL_TIM_PWM_Init(&htim1) != HAL_OK)
  {
    Error_Handler();
  }
  sMasterConfig.MasterOutputTrigger = TIM_TRGO_RESET;
  sMasterConfig.MasterOutputTrigger2 = TIM_TRGO2_RESET;
  sMasterConfig.MasterSlaveMode = TIM_MASTERSLAVEMODE_DISABLE;
  if (HAL_TIMEx_MasterConfigSynchronization(&htim1, &sMasterConfig) != HAL_OK)
  {
    Error_Handler();
  }
  sConfigOC.OCMode = TIM_OCMODE_PWM1;
  sConfigOC.Pulse = 1000-1;
  sConfigOC.OCPolarity = TIM_OCPOLARITY_HIGH;
  sConfigOC.OCNPolarity = TIM_OCNPOLARITY_HIGH;
  sConfigOC.OCFastMode = TIM_OCFAST_ENABLE;
  sConfigOC.OCIdleState = TIM_OCIDLESTATE_RESET;
  sConfigOC.OCNIdleState = TIM_OCNIDLESTATE_RESET;
  if (HAL_TIM_PWM_ConfigChannel(&htim1, &sConfigOC, TIM_CHANNEL_1) != HAL_OK)
  {
    Error_Handler();
  }
  __HAL_TIM_DISABLE_OCxPRELOAD(&htim1, TIM_CHANNEL_1);
  sBreakDeadTimeConfig.OffStateRunMode = TIM_OSSR_DISABLE;
  sBreakDeadTimeConfig.OffStateIDLEMode = TIM_OSSI_DISABLE;
  sBreakDeadTimeConfig.LockLevel = TIM_LOCKLEVEL_OFF;
  sBreakDeadTimeConfig.DeadTime = 255;
  sBreakDeadTimeConfig.BreakState = TIM_BREAK_ENABLE;
  sBreakDeadTimeConfig.BreakPolarity = TIM_BREAKPOLARITY_HIGH;
  sBreakDeadTimeConfig.BreakFilter = 0;
  sBreakDeadTimeConfig.Break2State = TIM_BREAK2_DISABLE;
  sBreakDeadTimeConfig.Break2Polarity = TIM_BREAK2POLARITY_HIGH;
  sBreakDeadTimeConfig.Break2Filter = 0;
  sBreakDeadTimeConfig.AutomaticOutput = TIM_AUTOMATICOUTPUT_DISABLE;
  if (HAL_TIMEx_ConfigBreakDeadTime(&htim1, &sBreakDeadTimeConfig) != HAL_OK)
  {
    Error_Handler();
  }
  /* USER CODE BEGIN TIM1_Init 2 */

  __HAL_TIM_ENABLE_IT(&htim1,TIM_IT_UPDATE);

  /* USER CODE END TIM1_Init 2 */
  HAL_TIM_MspPostInit(&htim1);

}

static void MX_TIM2_Init(void)
{

  TIM_ClockConfigTypeDef sClockSourceConfig = {0};
  TIM_MasterConfigTypeDef sMasterConfig = {0};
  TIM_OC_InitTypeDef sConfigOC = {0};

  htim2.Instance = TIM2;
  htim2.Init.Prescaler = 0;
  htim2.Init.CounterMode = TIM_COUNTERMODE_UP;
  htim2.Init.Period = 2880-1;
  htim2.Init.ClockDivision = TIM_CLOCKDIVISION_DIV1;
  htim2.Init.AutoReloadPreload = TIM_AUTORELOAD_PRELOAD_DISABLE;
  if (HAL_TIM_Base_Init(&htim2) != HAL_OK)
  {
    Error_Handler();
  }
  sClockSourceConfig.ClockSource = TIM_CLOCKSOURCE_INTERNAL;
  if (HAL_TIM_ConfigClockSource(&htim2, &sClockSourceConfig) != HAL_OK)
  {
    Error_Handler();
  }
  if (HAL_TIM_PWM_Init(&htim2) != HAL_OK)
  {
    Error_Handler();
  }
  sMasterConfig.MasterOutputTrigger = TIM_TRGO_RESET;
  sMasterConfig.MasterSlaveMode = TIM_MASTERSLAVEMODE_DISABLE;
  if (HAL_TIMEx_MasterConfigSynchronization(&htim2, &sMasterConfig) != HAL_OK)
  {
    Error_Handler();
  }
  sConfigOC.OCMode = TIM_OCMODE_PWM1;
  sConfigOC.Pulse = 0;
  sConfigOC.OCPolarity = TIM_OCPOLARITY_HIGH;
  sConfigOC.OCFastMode = TIM_OCFAST_DISABLE;
  if (HAL_TIM_PWM_ConfigChannel(&htim2, &sConfigOC, TIM_CHANNEL_1) != HAL_OK)
  {
    Error_Handler();
  }
  __HAL_TIM_DISABLE_OCxPRELOAD(&htim2, TIM_CHANNEL_1);
  HAL_TIM_MspPostInit(&htim2);

}

static void MX_TIM3_Init(void)
{

  TIM_ClockConfigTypeDef sClockSourceConfig = {0};
  TIM_MasterConfigTypeDef sMasterConfig = {0};

  htim3.Instance = TIM3;
  htim3.Init.Prescaler = 72;
  htim3.Init.CounterMode = TIM_COUNTERMODE_UP;
  htim3.Init.Period = 10;
  htim3.Init.ClockDivision = TIM_CLOCKDIVISION_DIV1;
  htim3.Init.AutoReloadPreload = TIM_AUTORELOAD_PRELOAD_ENABLE;
  if (HAL_TIM_Base_Init(&htim3) != HAL_OK)
  {
    Error_Handler();
  }
  sClockSourceConfig.ClockSource = TIM_CLOCKSOURCE_INTERNAL;
  if (HAL_TIM_ConfigClockSource(&htim3, &sClockSourceConfig) != HAL_OK)
  {
    Error_Handler();
  }
  sMasterConfig.MasterOutputTrigger = TIM_TRGO_UPDATE;
  sMasterConfig.MasterSlaveMode = TIM_MASTERSLAVEMODE_DISABLE;
  if (HAL_TIMEx_MasterConfigSynchronization(&htim3, &sMasterConfig) != HAL_OK)
  {
    Error_Handler();
  }

}

static void MX_TIM4_Init(void)
{

  TIM_ClockConfigTypeDef sClockSourceConfig = {0};
  TIM_MasterConfigTypeDef sMasterConfig = {0};
  TIM_OC_InitTypeDef sConfigOC = {0};

  htim4.Instance = TIM4;
  htim4.Init.Prescaler = 0;
  htim4.Init.CounterMode = TIM_COUNTERMODE_UP;
  htim4.Init.Period = 3000;
  htim4.Init.ClockDivision = TIM_CLOCKDIVISION_DIV1;
  htim4.Init.AutoReloadPreload = TIM_AUTORELOAD_PRELOAD_DISABLE;
  if (HAL_TIM_Base_Init(&htim4) != HAL_OK)
  {
    Error_Handler();
  }
  sClockSourceConfig.ClockSource = TIM_CLOCKSOURCE_INTERNAL;
  if (HAL_TIM_ConfigClockSource(&htim4, &sClockSourceConfig) != HAL_OK)
  {
    Error_Handler();
  }
  if (HAL_TIM_PWM_Init(&htim4) != HAL_OK)
  {
    Error_Handler();
  }
  sMasterConfig.MasterOutputTrigger = TIM_TRGO_RESET;
  sMasterConfig.MasterSlaveMode = TIM_MASTERSLAVEMODE_DISABLE;
  if (HAL_TIMEx_MasterConfigSynchronization(&htim4, &sMasterConfig) != HAL_OK)
  {
    Error_Handler();
  }
  sConfigOC.OCMode = TIM_OCMODE_PWM1;
  sConfigOC.Pulse = 1500;
  sConfigOC.OCPolarity = TIM_OCPOLARITY_HIGH;
  sConfigOC.OCFastMode = TIM_OCFAST_DISABLE;
  if (HAL_TIM_PWM_ConfigChannel(&htim4, &sConfigOC, TIM_CHANNEL_1) != HAL_OK)
  {
    Error_Handler();
  }
  __HAL_TIM_DISABLE_OCxPRELOAD(&htim4, TIM_CHANNEL_1);
  HAL_TIM_MspPostInit(&htim4);

}

static void MX_TIM7_Init(void)
{

  TIM_MasterConfigTypeDef sMasterConfig = {0};

  htim7.Instance = TIM7;
  htim7.Init.Prescaler = 0;
  htim7.Init.CounterMode = TIM_COUNTERMODE_UP;
  htim7.Init.Period = 300;
  htim7.Init.AutoReloadPreload = TIM_AUTORELOAD_PRELOAD_DISABLE;
  if (HAL_TIM_Base_Init(&htim7) != HAL_OK)
  {
    Error_Handler();
  }
  sMasterConfig.MasterOutputTrigger = TIM_TRGO_RESET;
  sMasterConfig.MasterSlaveMode = TIM_MASTERSLAVEMODE_DISABLE;
  if (HAL_TIMEx_MasterConfigSynchronization(&htim7, &sMasterConfig) != HAL_OK)
  {
    Error_Handler();
  }

}

static void MX_TIM8_Init(void)
{

  TIM_ClockConfigTypeDef sClockSourceConfig = {0};
  TIM_MasterConfigTypeDef sMasterConfig = {0};
  TIM_OC_InitTypeDef sConfigOC = {0};
  TIM_BreakDeadTimeConfigTypeDef sBreakDeadTimeConfig = {0};

  htim8.Instance = TIM8;
  htim8.Init.Prescaler = 1;
  htim8.Init.CounterMode = TIM_COUNTERMODE_CENTERALIGNED1;
  htim8.Init.Period = 800;
  htim8.Init.ClockDivision = TIM_CLOCKDIVISION_DIV1;
  htim8.Init.RepetitionCounter = 0;
  htim8.Init.AutoReloadPreload = TIM_AUTORELOAD_PRELOAD_DISABLE;
  if (HAL_TIM_Base_Init(&htim8) != HAL_OK)
  {
    Error_Handler();
  }
  sClockSourceConfig.ClockSource = TIM_CLOCKSOURCE_INTERNAL;
  if (HAL_TIM_ConfigClockSource(&htim8, &sClockSourceConfig) != HAL_OK)
  {
    Error_Handler();
  }
  if (HAL_TIM_PWM_Init(&htim8) != HAL_OK)
  {
    Error_Handler();
  }
  sMasterConfig.MasterOutputTrigger = TIM_TRGO_OC1REF;
  sMasterConfig.MasterOutputTrigger2 = TIM_TRGO2_OC1REF;
  sMasterConfig.MasterSlaveMode = TIM_MASTERSLAVEMODE_DISABLE;
  if (HAL_TIMEx_MasterConfigSynchronization(&htim8, &sMasterConfig) != HAL_OK)
  {
    Error_Handler();
  }
  sConfigOC.OCMode = TIM_OCMODE_ASSYMETRIC_PWM1;
  sConfigOC.Pulse = 500;
  sConfigOC.OCPolarity = TIM_OCPOLARITY_HIGH;
  sConfigOC.OCNPolarity = TIM_OCNPOLARITY_HIGH;
  sConfigOC.OCFastMode = TIM_OCFAST_ENABLE;
  sConfigOC.OCIdleState = TIM_OCIDLESTATE_RESET;
  sConfigOC.OCNIdleState = TIM_OCNIDLESTATE_RESET;
  if (HAL_TIM_PWM_ConfigChannel(&htim8, &sConfigOC, TIM_CHANNEL_1) != HAL_OK)
  {
    Error_Handler();
  }
  __HAL_TIM_DISABLE_OCxPRELOAD(&htim8, TIM_CHANNEL_1);
  sConfigOC.Pulse = 0;
  if (HAL_TIM_PWM_ConfigChannel(&htim8, &sConfigOC, TIM_CHANNEL_2) != HAL_OK)
  {
    Error_Handler();
  }
  __HAL_TIM_DISABLE_OCxPRELOAD(&htim8, TIM_CHANNEL_2);
  sConfigOC.Pulse = 500;
  sConfigOC.OCFastMode = TIM_OCFAST_DISABLE;
  if (HAL_TIM_PWM_ConfigChannel(&htim8, &sConfigOC, TIM_CHANNEL_3) != HAL_OK)
  {
    Error_Handler();
  }
  __HAL_TIM_DISABLE_OCxPRELOAD(&htim8, TIM_CHANNEL_3);
  sConfigOC.Pulse = 0;
  if (HAL_TIM_PWM_ConfigChannel(&htim8, &sConfigOC, TIM_CHANNEL_4) != HAL_OK)
  {
    Error_Handler();
  }
  __HAL_TIM_DISABLE_OCxPRELOAD(&htim8, TIM_CHANNEL_4);
  sBreakDeadTimeConfig.OffStateRunMode = TIM_OSSR_DISABLE;
  sBreakDeadTimeConfig.OffStateIDLEMode = TIM_OSSI_DISABLE;
  sBreakDeadTimeConfig.LockLevel = TIM_LOCKLEVEL_OFF;
  sBreakDeadTimeConfig.DeadTime = 100;
  sBreakDeadTimeConfig.BreakState = TIM_BREAK_DISABLE;
  sBreakDeadTimeConfig.BreakPolarity = TIM_BREAKPOLARITY_HIGH;
  sBreakDeadTimeConfig.BreakFilter = 0;
  sBreakDeadTimeConfig.Break2State = TIM_BREAK2_DISABLE;
  sBreakDeadTimeConfig.Break2Polarity = TIM_BREAK2POLARITY_HIGH;
  sBreakDeadTimeConfig.Break2Filter = 0;
  sBreakDeadTimeConfig.AutomaticOutput = TIM_AUTOMATICOUTPUT_DISABLE;
  if (HAL_TIMEx_ConfigBreakDeadTime(&htim8, &sBreakDeadTimeConfig) != HAL_OK)
  {
    Error_Handler();
  }
  HAL_TIM_MspPostInit(&htim8);

}

static void MX_USART2_UART_Init(void)
{

  huart2.Instance = USART2;
  huart2.Init.BaudRate = 38400;
  huart2.Init.WordLength = UART_WORDLENGTH_8B;
  huart2.Init.StopBits = UART_STOPBITS_1;
  huart2.Init.Parity = UART_PARITY_NONE;
  huart2.Init.Mode = UART_MODE_TX_RX;
  huart2.Init.HwFlowCtl = UART_HWCONTROL_NONE;
  huart2.Init.OverSampling = UART_OVERSAMPLING_16;
  huart2.Init.OneBitSampling = UART_ONE_BIT_SAMPLE_DISABLE;
  huart2.AdvancedInit.AdvFeatureInit = UART_ADVFEATURE_NO_INIT;
  if (HAL_UART_Init(&huart2) != HAL_OK)
  {
    Error_Handler();
  }

}

static void MX_DMA_Init(void)
{

  /* DMA controller clock enable */
  __HAL_RCC_DMA1_CLK_ENABLE();
  __HAL_RCC_DMA2_CLK_ENABLE();

  /* Configure DMA request hdma_memtomem_dma1_channel4 on DMA1_Channel4 */
  hdma_memtomem_dma1_channel4.Instance = DMA1_Channel4;
  hdma_memtomem_dma1_channel4.Init.Direction = DMA_MEMORY_TO_MEMORY;
  hdma_memtomem_dma1_channel4.Init.PeriphInc = DMA_PINC_ENABLE;
  hdma_memtomem_dma1_channel4.Init.MemInc = DMA_MINC_ENABLE;
  hdma_memtomem_dma1_channel4.Init.PeriphDataAlignment = DMA_PDATAALIGN_HALFWORD;
  hdma_memtomem_dma1_channel4.Init.MemDataAlignment = DMA_MDATAALIGN_HALFWORD;
  hdma_memtomem_dma1_channel4.Init.Mode = DMA_NORMAL;
  hdma_memtomem_dma1_channel4.Init.Priority = DMA_PRIORITY_HIGH;
  if (HAL_DMA_Init(&hdma_memtomem_dma1_channel4) != HAL_OK)
  {
    Error_Handler( );
  }

  /* DMA interrupt init */
  /* DMA1_Channel1_IRQn interrupt configuration */
  HAL_NVIC_SetPriority(DMA1_Channel1_IRQn, 0, 0);
  HAL_NVIC_EnableIRQ(DMA1_Channel1_IRQn);
  /* DMA1_Channel3_IRQn interrupt configuration */
  HAL_NVIC_SetPriority(DMA1_Channel3_IRQn, 0, 0);
  HAL_NVIC_EnableIRQ(DMA1_Channel3_IRQn);
  /* DMA1_Channel5_IRQn interrupt configuration */
  HAL_NVIC_SetPriority(DMA1_Channel5_IRQn, 0, 0);
  HAL_NVIC_EnableIRQ(DMA1_Channel5_IRQn);
  /* DMA2_Channel1_IRQn interrupt configuration */
  HAL_NVIC_SetPriority(DMA2_Channel1_IRQn, 0, 0);
  HAL_NVIC_EnableIRQ(DMA2_Channel1_IRQn);
  /* DMA2_Channel2_IRQn interrupt configuration */
  HAL_NVIC_SetPriority(DMA2_Channel2_IRQn, 0, 0);
  HAL_NVIC_EnableIRQ(DMA2_Channel2_IRQn);
  /* DMA2_Channel5_IRQn interrupt configuration */
  HAL_NVIC_SetPriority(DMA2_Channel5_IRQn, 0, 0);
  HAL_NVIC_EnableIRQ(DMA2_Channel5_IRQn);

}

static void MX_GPIO_Init(void)
{
  GPIO_InitTypeDef GPIO_InitStruct = {0};

  /* GPIO Ports Clock Enable */
  __HAL_RCC_GPIOC_CLK_ENABLE();
  __HAL_RCC_GPIOF_CLK_ENABLE();
  __HAL_RCC_GPIOA_CLK_ENABLE();
  __HAL_RCC_GPIOB_CLK_ENABLE();

  /*Configure GPIO pin Output Level */
  HAL_GPIO_WritePin(GPIOC, GPIO_PIN_3|GPIO_PIN_4|GPIO_PIN_7|GPIO_PIN_8
                          |GPIO_PIN_9, GPIO_PIN_RESET);

  /*Configure GPIO pin Output Level */
  HAL_GPIO_WritePin(GPIOA, GPIO_PIN_5, GPIO_PIN_RESET);

  /*Configure GPIO pin Output Level */
  HAL_GPIO_WritePin(GPIOB, GPIO_PIN_10|GPIO_PIN_13|GPIO_PIN_14, GPIO_PIN_RESET);

  /*Configure GPIO pins : PC3 PC4 PC7 PC8
                           PC9 */
  GPIO_InitStruct.Pin = GPIO_PIN_3|GPIO_PIN_4|GPIO_PIN_7|GPIO_PIN_8
                          |GPIO_PIN_9;
  GPIO_InitStruct.Mode = GPIO_MODE_OUTPUT_PP;
  GPIO_InitStruct.Pull = GPIO_NOPULL;
  GPIO_InitStruct.Speed = GPIO_SPEED_FREQ_LOW;
  HAL_GPIO_Init(GPIOC, &GPIO_InitStruct);

  /*Configure GPIO pin : PA5 */
  GPIO_InitStruct.Pin = GPIO_PIN_5;
  GPIO_InitStruct.Mode = GPIO_MODE_OUTPUT_PP;
  GPIO_InitStruct.Pull = GPIO_NOPULL;
  GPIO_InitStruct.Speed = GPIO_SPEED_FREQ_LOW;
  HAL_GPIO_Init(GPIOA, &GPIO_InitStruct);

  /*Configure GPIO pins : PB1 PB15 */
  GPIO_InitStruct.Pin = GPIO_PIN_1|GPIO_PIN_15;
  GPIO_InitStruct.Mode = GPIO_MODE_INPUT;
  GPIO_InitStruct.Pull = GPIO_NOPULL;
  HAL_GPIO_Init(GPIOB, &GPIO_InitStruct);

  /*Configure GPIO pin : PB2 */
  GPIO_InitStruct.Pin = GPIO_PIN_2;
  GPIO_InitStruct.Mode = GPIO_MODE_IT_RISING;
  GPIO_InitStruct.Pull = GPIO_NOPULL;
  HAL_GPIO_Init(GPIOB, &GPIO_InitStruct);

  /*Configure GPIO pins : PB10 PB13 PB14 */
  GPIO_InitStruct.Pin = GPIO_PIN_10|GPIO_PIN_13|GPIO_PIN_14;
  GPIO_InitStruct.Mode = GPIO_MODE_OUTPUT_PP;
  GPIO_InitStruct.Pull = GPIO_NOPULL;
  GPIO_InitStruct.Speed = GPIO_SPEED_FREQ_LOW;
  HAL_GPIO_Init(GPIOB, &GPIO_InitStruct);

}

/* USER CODE BEGIN 4 */

void HAL_TIM_PeriodElapsedCallback(TIM_HandleTypeDef* htim)
{
  if (htim->Instance == TIM1)
  {
	  DMA1_Channel5->CCR &= ~DMA_CCR_EN;// disable
	  DMA1_Channel5->CNDTR = 249;
	  DMA1_Channel5->CCR |= DMA_CCR_EN; // re-enable
  }
}

/* USER CODE END 4 */

void Error_Handler(void)
{
}
